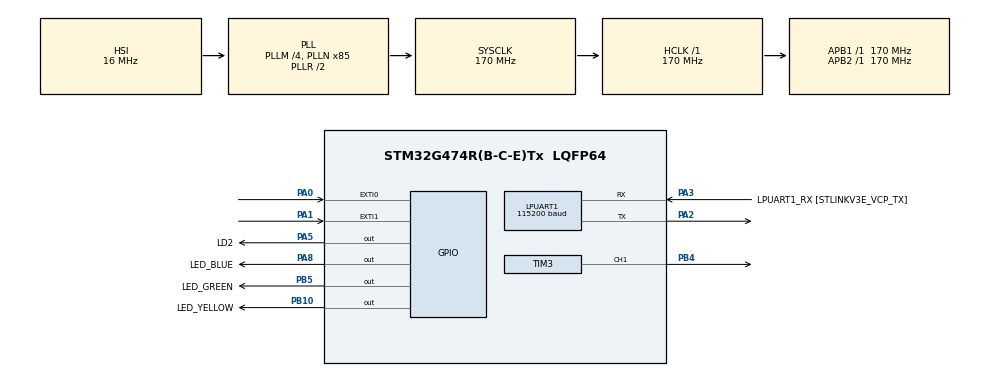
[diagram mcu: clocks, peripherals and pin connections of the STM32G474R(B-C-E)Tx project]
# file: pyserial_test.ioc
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LPUART1.BaudRate=115200
Mcu.Family=STM32G4
Mcu.Name=STM32G474R(B-C-E)Tx
Mcu.Package=LQFP64
NVIC.EXTI0_IRQn=true\:3\:0\:true\:false\:true\:true\:true\:true
NVIC.EXTI1_IRQn=true\:3\:0\:true\:false\:true\:true\:true\:true
NVIC.LPUART1_IRQn=true\:1\:0\:true\:false\:true\:true\:true\:true
NVIC.PriorityGroup=NVIC_PRIORITYGROUP_4
NVIC.TIM2_IRQn=true\:2\:0\:true\:false\:true\:true\:true\:true
PA0.GPIO_ModeDefaultEXTI=GPIO_MODE_IT_FALLING
PA0.GPIO_PuPd=GPIO_PULLUP
PA0.Signal=GPXTI0
PA1.GPIO_ModeDefaultEXTI=GPIO_MODE_IT_FALLING
PA1.GPIO_PuPd=GPIO_PULLUP
PA1.Signal=GPXTI1
PA13.GPIO_Label=T_SWDIO
PA13.Signal=SYS_JTMS-SWDIO
PA14.GPIO_Label=T_SWCLK
PA14.Signal=SYS_JTCK-SWCLK
PA2.Mode=Asynchronous
PA2.Signal=LPUART1_TX
PA3.GPIO_Label=LPUART1_RX [STLINKV3E_VCP_TX]
PA3.Mode=Asynchronous
PA3.Signal=LPUART1_RX
PA5.GPIO_Label=LD2
PA5.Signal=GPIO_Output
PA8.GPIO_Label=LED_BLUE
PA8.Signal=GPIO_Output
PB10.GPIO_Label=LED_YELLOW
PB10.Signal=GPIO_Output
PB3.GPIO_Label=T_SWO
PB3.Signal=SYS_JTDO-SWO
PB4.Signal=S_TIM3_CH1
PB5.GPIO_Label=LED_GREEN
PB5.Signal=GPIO_Output
PC14-OSC32_IN.GPIO_Label=RCC_OSC32_IN
PC14-OSC32_IN.Signal=RCC_OSC32_IN
PC15-OSC32_OUT.GPIO_Label=RCC_OSC32_OUT
PC15-OSC32_OUT.Signal=RCC_OSC32_OUT
PF0-OSC_IN.GPIO_Label=RCC_OSC_IN
PF0-OSC_IN.Signal=RCC_OSC_IN
PF1-OSC_OUT.GPIO_Label=RCC_OSC_OUT
PF1-OSC_OUT.Signal=RCC_OSC_OUT
ProjectManager.HeapSize=0x200
ProjectManager.StackSize=0x400
ProjectManager.TargetToolchain=STM32CubeIDE
RCC.ADC12Freq_Value=170000000
RCC.ADC345Freq_Value=170000000
RCC.AHBFreq_Value=170000000
RCC.APB1Freq_Value=170000000
RCC.APB1TimFreq_Value=170000000
RCC.APB2Freq_Value=170000000
RCC.APB2TimFreq_Value=170000000
RCC.CortexFreq_Value=170000000
RCC.EXTERNAL_CLOCK_VALUE=12288000
RCC.HCLKFreq_Value=170000000
RCC.HSE_VALUE=24000000
RCC.HSI48_VALUE=48000000
RCC.HSI_VALUE=16000000
RCC.LSE_VALUE=32768
RCC.PLLM=RCC_PLLM_DIV4
RCC.PLLN=85
RCC.RTCClockSelection=RCC_RTCCLKSOURCE_LSE
RCC.SYSCLKFreq_VALUE=170000000
RCC.SYSCLKSource=RCC_SYSCLKSOURCE_PLLCLK
RCC.USBFreq_Value=170000000
RCC.VCOOutputFreq_Value=340000000
SH.S_TIM3_CH1.0=TIM3_CH1,PWM Generation1 CH1
TIM2.PeriodNoDither=999
TIM2.Prescaler=169
TIM3.Channel-PWM\ Generation1\ CH1=TIM_CHANNEL_1
TIM3.PeriodNoDither=1249
TIM3.Prescaler=169
TIM3.PulseNoDither_1=625
VP_SYS_VS_DBSignals.Mode=DisableDeadBatterySignals
VP_TIM2_VS_ClockSourceINT.Mode=Internal
board=NUCLEO-G474RE

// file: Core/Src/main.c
/* USER CODE BEGIN Header */
/**
  ******************************************************************************
  * @file           : main.c
  * @brief          : Main program body
  ******************************************************************************
  * @attention
  *
  * Copyright (c) 2026 STMicroelectronics.
  * All rights reserved.
  *
  * This software is licensed under terms that can be found in the LICENSE file
  * in the root directory of this software component.
  * If no LICENSE file comes with this software, it is provided AS-IS.
  *
  ******************************************************************************
  */
/* USER CODE END Header */
#include "main.h"

/* USER CODE BEGIN Includes */
#include <string.h>   // strlen長度、strcmp 比較字串是否相同 等字串函式
#include <ctype.h>    // toupper：把小寫字母轉成大寫
/* USER CODE END Includes */

/* USER CODE BEGIN PTD */
typedef enum {
    STATE_IDLE = 0,    // 待機：綠燈亮，蜂鳴器靜音，等按鍵
    STATE_PLAYING,     // 播放中：按鍵後蜂鳴器響 100ms 或 300ms
    STATE_WAIT_CHAR    // 等待接續：放開後倒數 700ms，看會不會再按
} MorseState;
/* USER CODE END PTD */

UART_HandleTypeDef hlpuart1;

TIM_HandleTypeDef htim2;
TIM_HandleTypeDef htim3;

/* USER CODE BEGIN PV */
uint8_t rx_byte;
char rx_buf[32];
uint8_t rx_idx = 0;
volatile uint8_t cmd_ready = 0;
// ---- 摩斯碼查表 ----
// 字母 A~Z，用法：morse_letters[c - 'A']:把 A 當作起點 0，算出這個字母離 A 有幾格。剛好就是陣列的索引。
const char *morse_letters[26] = {//字串指標陣列 const :這東西不會被修改，放進 Flash，morse_letters[0] 是 A
    ".-","-...","-.-.","-..",".","..-.","--.","....","..",".---",
    "-.-",".-..","--","-.","---",".--.","--.-",".-.","...","-",
    "..-","...-",".--","-..-","-.--","--.."
};
// 數字 0~9，用法：morse_digits[c - '0']
const char *morse_digits[10] = {
    "-----",".----","..---","...--","....-",
    ".....","-....","--...","---..","----."
};

// ---- 板端按鍵輸入用的變數 ----
// volatile：告訴編譯器「這個變數會在中斷裡被改」，要一直讀
volatile MorseState state = STATE_IDLE;  // 目前狀態

volatile uint32_t tone_remaining_ms = 0; // 目前這個音還要響幾 ms（Timer 每 1ms 減 1）
volatile uint32_t silence_ms = 0;  // 放開按鍵後已經靜默幾 ms

volatile char     pending_elem = 0;      // 按鍵中斷留下的紀錄：'.'、'-'，0 代表沒有
volatile uint8_t  char_timeout = 0;      // 旗標：靜默滿 700ms，該解碼了
volatile uint8_t  space_timeout = 0;     // 旗標：靜默滿 1800ms，該補空格了

volatile uint8_t  pc_playing = 0;        // 旗標：電腦指令 playtext()正在播放中，此時忽略按鍵

char    morse_buffer[8];                 // 暫存目前這個字母的點劃，例如 ".-"
uint8_t morse_len = 0;                   // morse_buffer 目前長度
/* USER CODE END PV */

void SystemClock_Config(void);
static void MX_GPIO_Init(void);
static void MX_LPUART1_UART_Init(void);
static void MX_TIM2_Init(void);
static void MX_TIM3_Init(void);

/* USER CODE BEGIN 0 */
// 一次設定三顆狀態燈：1 = 亮、0 = 滅
static void set_leds(uint8_t g, uint8_t y, uint8_t b)
{
    HAL_GPIO_WritePin(LED_GREEN_GPIO_Port,  LED_GREEN_Pin,  g ? GPIO_PIN_SET : GPIO_PIN_RESET);
    HAL_GPIO_WritePin(LED_YELLOW_GPIO_Port, LED_YELLOW_Pin, y ? GPIO_PIN_SET : GPIO_PIN_RESET);
    HAL_GPIO_WritePin(LED_BLUE_GPIO_Port,   LED_BLUE_Pin,   b ? GPIO_PIN_SET : GPIO_PIN_RESET);
}

// 蜂鳴器 + 板載 LD2 一起開／關，達成「邊響邊亮」
static void tone_on(void)
{
    HAL_TIM_PWM_Start(&htim3, TIM_CHANNEL_1);                          // PB4 輸出 800Hz 方波
    HAL_GPIO_WritePin(LD2_GPIO_Port, LD2_Pin, GPIO_PIN_SET);
}
static void tone_off(void)
{
    HAL_TIM_PWM_Stop(&htim3, TIM_CHANNEL_1);                           // 停止方波
    HAL_GPIO_WritePin(LD2_GPIO_Port, LD2_Pin, GPIO_PIN_RESET);
}

// 傳一整串文字到電腦
static void uart_print(const char *s)
{
    HAL_UART_Transmit(&hlpuart1, (uint8_t*)s, strlen(s), 100);
}

// 字元 → 摩斯碼字串。找不到（例如標點）回傳 NULL
static const char* char_to_morse(char c)
{
    c = toupper((unsigned char)c);                  // 統一轉大寫
    if (c >= 'A' && c <= 'Z') return morse_letters[c - 'A'];
    if (c >= '0' && c <= '9') return morse_digits[c - '0'];
    return NULL;
}

// 摩斯碼字串 → 字元（解碼用）。查不到回傳 '?'
static char morse_to_char(const char *code)
{
    for (int i = 0; i < 26; i++)                    // 先比對字母表
        if (strcmp(code, morse_letters[i]) == 0) return 'A' + i;
    for (int i = 0; i < 10; i++)                    // 再比對數字表
        if (strcmp(code, morse_digits[i]) == 0) return '0' + i;
    return '?';
}

// 【模式二】播放一整串英文字（電腦 → 板端）
// 這裡用 HAL_Delay 阻塞式播放，簡單易懂；播放期間主迴圈會暫停
static void play_text(const char *s)
{
    pc_playing = 1;                                 // 告訴按鍵中斷：現在別理按鍵
    set_leds(0, 1, 0);                              // 黃燈 = 播放中

    for (int i = 0; s[i] != '\0'; i++) {
        if (s[i] == ' ') {                          // 空格：單字間隔
            HAL_Delay(400);                         // 加上前面字母間隔 300ms，共約 700ms
            continue;
        }
        const char *m = char_to_morse(s[i]);		//查表
        if (m == NULL) continue;                    // 不認得的字元直接略過（也順便擋掉雜訊）

        for (int j = 0; m[j] != '\0'; j++) {
            tone_on();
            HAL_Delay(m[j] == '.' ? 100 : 300);     // 點 100ms、劃 300ms
            tone_off();
            HAL_Delay(100);                         // 音符之間靜默 100ms
        }
        HAL_Delay(200);                             // 字母之間再補 200ms（連同上面 100ms 共 300ms）
    }

    pending_elem = 0;                               // 清掉播放期間可能殘留的按鍵紀錄
    set_leds(1, 0, 0);                              // 回到綠燈待機
    pc_playing = 0;
}
/* USER CODE END 0 */

int main(void)
{

  /* MCU Configuration--------------------------------------------------------*/

  /* Reset of all peripherals, Initializes the Flash interface and the Systick. */
  HAL_Init();

  /* Configure the system clock */
  SystemClock_Config();

  /* Initialize all configured peripherals */
  MX_GPIO_Init();
  MX_LPUART1_UART_Init();
  MX_TIM2_Init();
  MX_TIM3_Init();
  /* USER CODE BEGIN 2 */
	HAL_UART_Receive_IT(&hlpuart1, &rx_byte, 1);//收到 1 個位元組就存到 rx_byte，然後打斷 CPU 通知我。
    HAL_TIM_Base_Start_IT(&htim2);   // 啟動 TIM2，並開啟「每 1ms 一次」的中斷
    set_leds(1, 0, 0);               // 開機先亮綠燈（待機）
  /* USER CODE END 2 */

  /* Infinite loop */
	  while (1)
	  {

    /* USER CODE BEGIN 3 */
		    // ========== 【模式二】電腦傳來一行字串 ==========
		    if (cmd_ready) {
		        cmd_ready = 0;
		        if (strlen(rx_buf) > 0) {                   // 空行（例如 Python 沖雜訊用的）直接忽略
		            uart_print("RX:");                      // 先回報收到什麼
		            uart_print(rx_buf);
		            uart_print("\r\n");
		            play_text(rx_buf);                      // 用蜂鳴器和燈播放摩斯碼
		            uart_print("DONE\r\n");                 // 播完通知電腦
		        }
		    }

		    // ========== 【模式一】板端按鍵輸入 ==========
		    // (a) 有按鍵紀錄，而且目前沒在響 → 開始發聲
		    if (pending_elem != 0 && state != STATE_PLAYING && !pc_playing) {
		        char e = pending_elem;
		        pending_elem = 0;

		        char_timeout = 0;                           // 又有新按鍵，之前的超時旗標作廢
		        space_timeout = 0;

		        if (morse_len < sizeof(morse_buffer) - 1) { // 防止緩衝區溢位
		            morse_buffer[morse_len++] = e;          // 記下這個點或劃
		            morse_buffer[morse_len] = '\0';
		        }

		        tone_remaining_ms = (e == '.') ? 100 : 300; // 點響 100ms、劃響 300ms
		        set_leds(0, 0, 0);
		        tone_on();
		        state = STATE_PLAYING;                      // 之後由 TIM2 中斷負責倒數、停止
		    }

		    // (b) 靜默滿 700ms：字母結束 → 解碼並傳給電腦
		    if (char_timeout) {
		        char_timeout = 0;
		        if (morse_len > 0) {
		            set_leds(0, 0, 1);                      // 藍燈 = 解碼中
		            char c = morse_to_char(morse_buffer);   // 查表
		            HAL_UART_Transmit(&hlpuart1, (uint8_t*)&c, 1, 100);   // 把字母送到 Git Bash
		            morse_len = 0;                          // 清空緩衝，準備接下一個字母
		            morse_buffer[0] = '\0';
		        }
		    }

		    // (c) 靜默滿 1800ms：單字結束 → 補一個空格，回待機
		    if (space_timeout) {
		        space_timeout = 0;
		        HAL_UART_Transmit(&hlpuart1, (uint8_t*)" ", 1, 100);
		        set_leds(1, 0, 0);                          // 回綠燈
		    }
	  }
  /* USER CODE END 3 */
}

void SystemClock_Config(void)
{
  RCC_OscInitTypeDef RCC_OscInitStruct = {0};
  RCC_ClkInitTypeDef RCC_ClkInitStruct = {0};

  /** Configure the main internal regulator output voltage
  */
  HAL_PWREx_ControlVoltageScaling(PWR_REGULATOR_VOLTAGE_SCALE1_BOOST);

  /** Initializes the RCC Oscillators according to the specified parameters
  * in the RCC_OscInitTypeDef structure.
  */
  RCC_OscInitStruct.OscillatorType = RCC_OSCILLATORTYPE_HSI;
  RCC_OscInitStruct.HSIState = RCC_HSI_ON;
  RCC_OscInitStruct.HSICalibrationValue = RCC_HSICALIBRATION_DEFAULT;
  RCC_OscInitStruct.PLL.PLLState = RCC_PLL_ON;
  RCC_OscInitStruct.PLL.PLLSource = RCC_PLLSOURCE_HSI;
  RCC_OscInitStruct.PLL.PLLM = RCC_PLLM_DIV4;
  RCC_OscInitStruct.PLL.PLLN = 85;
  RCC_OscInitStruct.PLL.PLLP = RCC_PLLP_DIV2;
  RCC_OscInitStruct.PLL.PLLQ = RCC_PLLQ_DIV2;
  RCC_OscInitStruct.PLL.PLLR = RCC_PLLR_DIV2;
  if (HAL_RCC_OscConfig(&RCC_OscInitStruct) != HAL_OK)
  {
    Error_Handler();
  }

  /** Initializes the CPU, AHB and APB buses clocks
  */
  RCC_ClkInitStruct.ClockType = RCC_CLOCKTYPE_HCLK|RCC_CLOCKTYPE_SYSCLK
                              |RCC_CLOCKTYPE_PCLK1|RCC_CLOCKTYPE_PCLK2;
  RCC_ClkInitStruct.SYSCLKSource = RCC_SYSCLKSOURCE_PLLCLK;
  RCC_ClkInitStruct.AHBCLKDivider = RCC_SYSCLK_DIV1;
  RCC_ClkInitStruct.APB1CLKDivider = RCC_HCLK_DIV1;
  RCC_ClkInitStruct.APB2CLKDivider = RCC_HCLK_DIV1;

  if (HAL_RCC_ClockConfig(&RCC_ClkInitStruct, FLASH_LATENCY_4) != HAL_OK)
  {
    Error_Handler();
  }
}

static void MX_LPUART1_UART_Init(void)
{

  hlpuart1.Instance = LPUART1;
  hlpuart1.Init.BaudRate = 115200;
  hlpuart1.Init.WordLength = UART_WORDLENGTH_8B;
  hlpuart1.Init.StopBits = UART_STOPBITS_1;
  hlpuart1.Init.Parity = UART_PARITY_NONE;
  hlpuart1.Init.Mode = UART_MODE_TX_RX;
  hlpuart1.Init.HwFlowCtl = UART_HWCONTROL_NONE;
  hlpuart1.Init.OneBitSampling = UART_ONE_BIT_SAMPLE_DISABLE;
  hlpuart1.Init.ClockPrescaler = UART_PRESCALER_DIV1;
  hlpuart1.AdvancedInit.AdvFeatureInit = UART_ADVFEATURE_NO_INIT;
  if (HAL_UART_Init(&hlpuart1) != HAL_OK)
  {
    Error_Handler();
  }
  if (HAL_UARTEx_SetTxFifoThreshold(&hlpuart1, UART_TXFIFO_THRESHOLD_1_8) != HAL_OK)
  {
    Error_Handler();
  }
  if (HAL_UARTEx_SetRxFifoThreshold(&hlpuart1, UART_RXFIFO_THRESHOLD_1_8) != HAL_OK)
  {
    Error_Handler();
  }
  if (HAL_UARTEx_DisableFifoMode(&hlpuart1) != HAL_OK)
  {
    Error_Handler();
  }

}

static void MX_TIM2_Init(void)
{

  TIM_ClockConfigTypeDef sClockSourceConfig = {0};
  TIM_MasterConfigTypeDef sMasterConfig = {0};

  htim2.Instance = TIM2;
  htim2.Init.Prescaler = 169;
  htim2.Init.CounterMode = TIM_COUNTERMODE_UP;
  htim2.Init.Period = 999;
  htim2.Init.ClockDivision = TIM_CLOCKDIVISION_DIV1;
  htim2.Init.AutoReloadPreload = TIM_AUTORELOAD_PRELOAD_DISABLE;
  if (HAL_TIM_Base_Init(&htim2) != HAL_OK)
  {
    Error_Handler();
  }
  sClockSourceConfig.ClockSource = TIM_CLOCKSOURCE_INTERNAL;
  if (HAL_TIM_ConfigClockSource(&htim2, &sClockSourceConfig) != HAL_OK)
  {
    Error_Handler();
  }
  sMasterConfig.MasterOutputTrigger = TIM_TRGO_RESET;
  sMasterConfig.MasterSlaveMode = TIM_MASTERSLAVEMODE_DISABLE;
  if (HAL_TIMEx_MasterConfigSynchronization(&htim2, &sMasterConfig) != HAL_OK)
  {
    Error_Handler();
  }

}

static void MX_TIM3_Init(void)
{

  TIM_MasterConfigTypeDef sMasterConfig = {0};
  TIM_OC_InitTypeDef sConfigOC = {0};

  htim3.Instance = TIM3;
  htim3.Init.Prescaler = 169;
  htim3.Init.CounterMode = TIM_COUNTERMODE_UP;
  htim3.Init.Period = 1249;
  htim3.Init.ClockDivision = TIM_CLOCKDIVISION_DIV1;
  htim3.Init.AutoReloadPreload = TIM_AUTORELOAD_PRELOAD_DISABLE;
  if (HAL_TIM_PWM_Init(&htim3) != HAL_OK)
  {
    Error_Handler();
  }
  sMasterConfig.MasterOutputTrigger = TIM_TRGO_RESET;
  sMasterConfig.MasterSlaveMode = TIM_MASTERSLAVEMODE_DISABLE;
  if (HAL_TIMEx_MasterConfigSynchronization(&htim3, &sMasterConfig) != HAL_OK)
  {
    Error_Handler();
  }
  sConfigOC.OCMode = TIM_OCMODE_PWM1;
  sConfigOC.Pulse = 625;
  sConfigOC.OCPolarity = TIM_OCPOLARITY_HIGH;
  sConfigOC.OCFastMode = TIM_OCFAST_DISABLE;
  if (HAL_TIM_PWM_ConfigChannel(&htim3, &sConfigOC, TIM_CHANNEL_1) != HAL_OK)
  {
    Error_Handler();
  }
  HAL_TIM_MspPostInit(&htim3);

}

static void MX_GPIO_Init(void)
{
  GPIO_InitTypeDef GPIO_InitStruct = {0};

  /* GPIO Ports Clock Enable */
  __HAL_RCC_GPIOC_CLK_ENABLE();
  __HAL_RCC_GPIOF_CLK_ENABLE();
  __HAL_RCC_GPIOA_CLK_ENABLE();
  __HAL_RCC_GPIOB_CLK_ENABLE();

  /*Configure GPIO pin Output Level */
  HAL_GPIO_WritePin(GPIOA, LD2_Pin|LED_BLUE_Pin, GPIO_PIN_RESET);

  /*Configure GPIO pin Output Level */
  HAL_GPIO_WritePin(GPIOB, LED_YELLOW_Pin|LED_GREEN_Pin, GPIO_PIN_RESET);

  /*Configure GPIO pins : PA0 PA1 */
  GPIO_InitStruct.Pin = GPIO_PIN_0|GPIO_PIN_1;
  GPIO_InitStruct.Mode = GPIO_MODE_IT_FALLING;
  GPIO_InitStruct.Pull = GPIO_PULLUP;
  HAL_GPIO_Init(GPIOA, &GPIO_InitStruct);

  /*Configure GPIO pins : LD2_Pin LED_BLUE_Pin */
  GPIO_InitStruct.Pin = LD2_Pin|LED_BLUE_Pin;
  GPIO_InitStruct.Mode = GPIO_MODE_OUTPUT_PP;
  GPIO_InitStruct.Pull = GPIO_NOPULL;
  GPIO_InitStruct.Speed = GPIO_SPEED_FREQ_LOW;
  HAL_GPIO_Init(GPIOA, &GPIO_InitStruct);

  /*Configure GPIO pins : LED_YELLOW_Pin LED_GREEN_Pin */
  GPIO_InitStruct.Pin = LED_YELLOW_Pin|LED_GREEN_Pin;
  GPIO_InitStruct.Mode = GPIO_MODE_OUTPUT_PP;
  GPIO_InitStruct.Pull = GPIO_NOPULL;
  GPIO_InitStruct.Speed = GPIO_SPEED_FREQ_LOW;
  HAL_GPIO_Init(GPIOB, &GPIO_InitStruct);

  /* EXTI interrupt init*/
  HAL_NVIC_SetPriority(EXTI0_IRQn, 3, 0);
  HAL_NVIC_EnableIRQ(EXTI0_IRQn);

  HAL_NVIC_SetPriority(EXTI1_IRQn, 3, 0);
  HAL_NVIC_EnableIRQ(EXTI1_IRQn);

}

/* USER CODE BEGIN 4 */
void HAL_UART_RxCpltCallback(UART_HandleTypeDef *huart)
//HAL_UART_Receive_IT(&hlpuart1, &rx_byte, 1)告訴 UART：「收到 1 個位元組就存到 rx_byte，然後打斷 CPU 通知我。」
{
    if (huart->Instance == LPUART1) {
        if (rx_byte == '\n') {	    				// 收到換行：一行結束
            rx_buf[rx_idx] = '\0';  				// 字串結尾
            rx_idx = 0;								// 下次從頭存(清空_rx_idx的內容
            cmd_ready = 1;		   					// 通知主迴圈：有一行可處理
        } else if (rx_byte != '\r' && rx_idx < sizeof(rx_buf) - 1)
        {//32 格，留 1 格給 \0），超過就丟棄，防止寫到陣列外面（越界）
            rx_buf[rx_idx++] = rx_byte;				// 存進緩衝區
        }
        HAL_UART_Receive_IT(&hlpuart1, &rx_byte, 1);  // 繼續收下一個
    }
}

// 按鍵中斷（下降緣）：PA0 = 短音鍵（點）、PA1 = 長音鍵（劃）
// 原則：中斷裡只「做紀錄」，不做耗時的事
// 實際處理按鍵的函式
static void handle_button(uint16_t GPIO_Pin)//去彈跳
{
    static uint32_t last_tick = 0;
    uint32_t now = HAL_GetTick();

    if (now - last_tick < 200) return;                 // 間隔拉長到 200ms

    // 確認腳位現在真的是低電位（被按著），不是放開時的抖動
    if (HAL_GPIO_ReadPin(GPIOA, GPIO_Pin) != GPIO_PIN_RESET) return;

    if (state == STATE_PLAYING || pc_playing) return;
    if (pending_elem != 0) return;//上一個按鍵主迴圈還沒取走，不重複記

    if (GPIO_Pin == GPIO_PIN_0)      pending_elem = '.';
    else if (GPIO_Pin == GPIO_PIN_1) pending_elem = '-';
    else return;

    last_tick = now;
}

// 新版 HAL 呼叫這個
void HAL_GPIO_EXTI_Falling_Callback(uint16_t GPIO_Pin) { handle_button(GPIO_Pin); }
// 舊版 HAL 呼叫這個
void HAL_GPIO_EXTI_Callback(uint16_t GPIO_Pin)         { handle_button(GPIO_Pin); }

// TIM2 每 1ms 進來一次：負責「音長倒數」和「靜默計時」
void HAL_TIM_PeriodElapsedCallback(TIM_HandleTypeDef *htim)
{
    if (htim->Instance != TIM2) return;             // 只處理 TIM2

    if (state == STATE_PLAYING) {
        if (tone_remaining_ms > 0) tone_remaining_ms--;
        if (tone_remaining_ms == 0) {               // 這個音響夠久了
            tone_off();                             // 蜂鳴器和 LD2 一起關
            silence_ms = 0;                         // 靜默計時從 0 開始
            state = STATE_WAIT_CHAR;                // 進入「等待接續」
        }
    }
    else if (state == STATE_WAIT_CHAR) {
        silence_ms++;
        if (silence_ms == 700)  char_timeout = 1;   // 滿 700ms：通知主迴圈解碼
        if (silence_ms == 1800) {                   // 滿 1800ms：通知主迴圈補空格
            space_timeout = 1;
            state = STATE_IDLE;                     // 回待機，不再計時
        }
    }
}
/* USER CODE END 4 */

void Error_Handler(void)
{
  __disable_irq();
  while (1)
  {
  }
}
